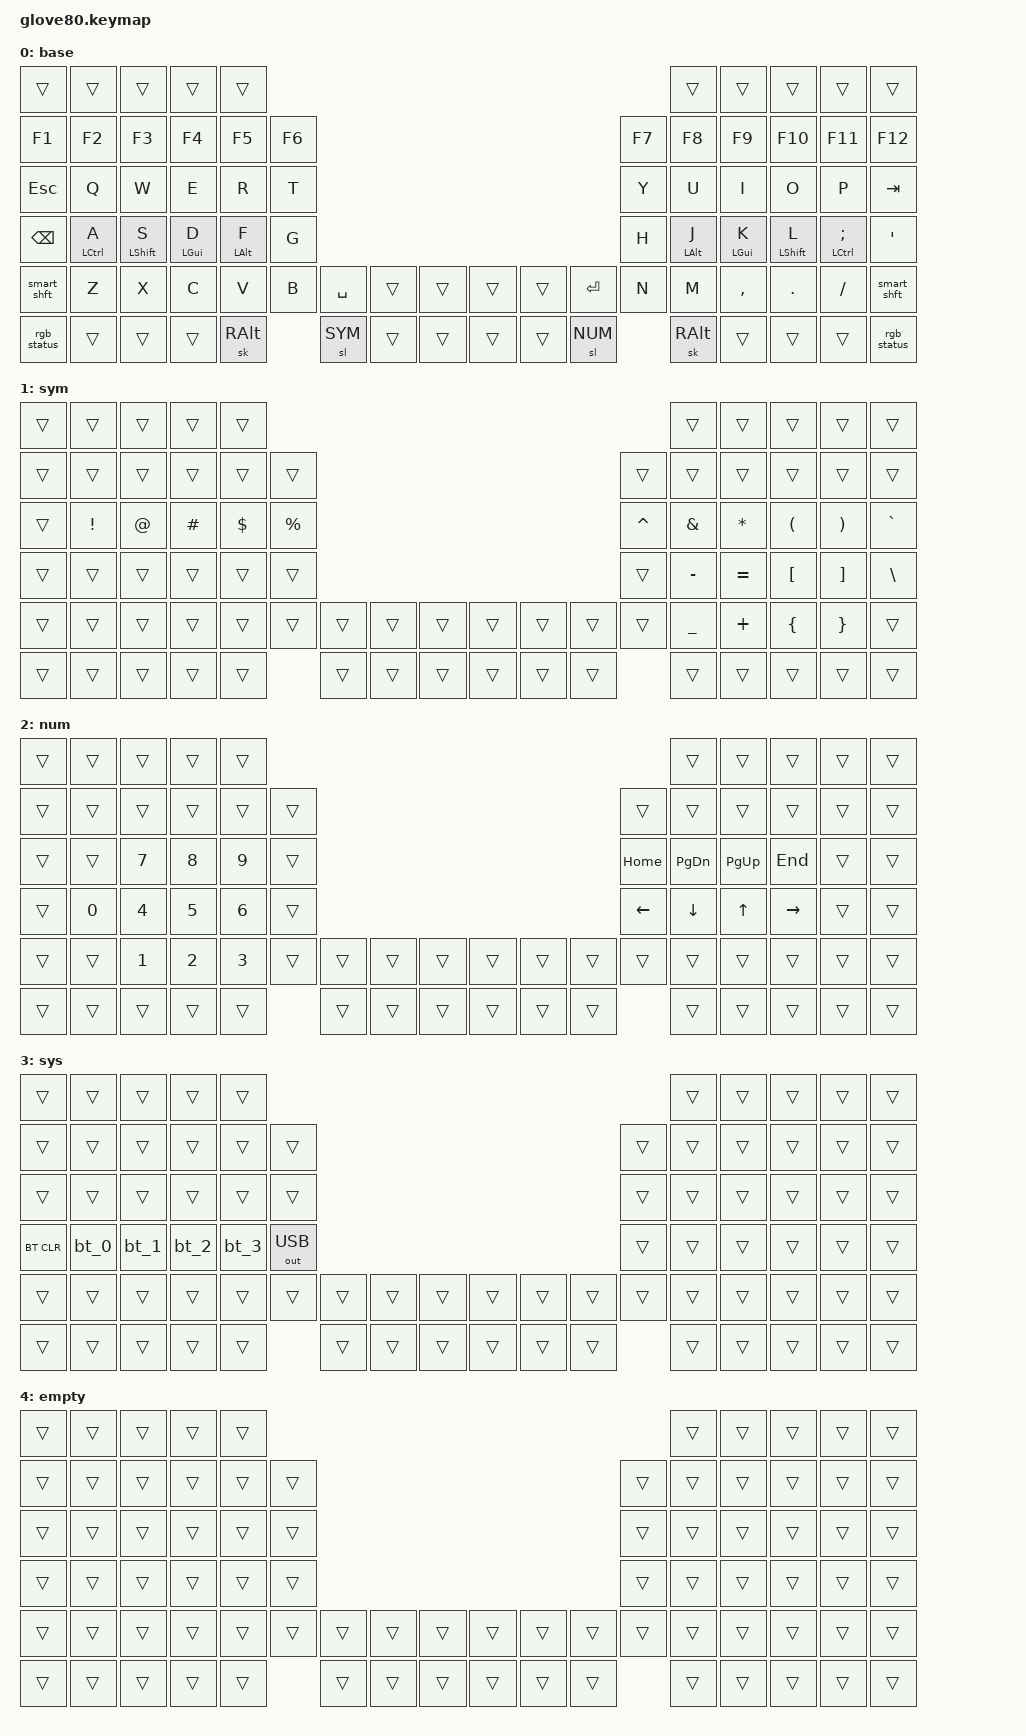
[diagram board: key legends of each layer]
/*                               GLOVE80 KEY MATRIX / LAYOUT MAPPING
 ╭────────────────────╮       ╭────────────────────╮ ╭────────────────────╮       ╭────────────────────╮
 │  0   1   2   3   4 ╰───┬───╯  5   6   7   8   9 │ │ LC5 LC4 LC3 LC2 LC1╰───┬───╯ RC1 RC2 RC3 RC4 RC5│
 │ 10  11  12  13  14  15 │ 16  17  18  19  20  21 │ │ LN5 LN4 LN3 LN2 LN1 LN0│ RN0 RN1 RN2 RN3 RN4 RN5│
 │ 22  23  24  25  26  27 │ 28  29  30  31  32  33 │ │ LT5 LT4 LT3 LT2 LT1 LT0│ RT0 RT1 RT2 RT3 RT4 RT5│
 │ 34  35  36  37  38  39 │ 40  41  42  43  44  45 │ │ LM5 LM4 LM3 LM2 LM1 LM0│ RM0 RM1 RM2 RM3 RM4 RM5│
 │ 46  47  48  49  50  51 │ 58  59  60  61  62  63 │ │ LB5 LB4 LB3 LB2 LB1 LB0│ RB0 RB1 RB2 RB3 RB4 RB5│
 │ 64  65  66  67  68 ╭───┴───╮ 75  76  77  78  79 │ │ LF5 LF4 LF3 LF2 LF1╭───┴───╮ RF1 RF2 RF3 RF4 RF5│
 ╰───────────┬────────┴───┬───┴────────┬───────────╯ ╰───────────┬────────┴───┬───┴────────┬───────────╯
             │ 52  53  54 │ 55  56  57 │                         │ LH5 LH4 LH3│ RH3 RH4 RH5│
             │ 69  70  71 │ 72  73  74 │                         │ LH2 LH1 LH0│ RH0 RH1 RH2│
             ╰────────────┴────────────╯                         ╰────────────┴────────────╯
 */
#include "../zmk-nodefree-config/keypos_def/keypos_glv80.h"

/* source ZMK helpers */
#include <behaviors.dtsi>
#include <dt-bindings/zmk/keys.h>

/* additional ZMK dependencies */
#include <dt-bindings/zmk/bt.h>
#include <dt-bindings/zmk/ext_power.h>
#include <dt-bindings/zmk/outputs.h>
#include <dt-bindings/zmk/rgb.h>

#include "../zmk-nodefree-config/helper.h"

// layers
#define DEF 0
#define SYM 1
#define NUM 2
#define SYS 3
#define EMPTY 4

#define XXX &none
#define ___ &trans

/* Global settings */

#define QUICK_TAP_MS 175

&sk {  // sticky-key config
    release-after-ms = <900>;  // release after 0.6s
    quick-release;             // no double capitalization when rolling keys
};

&sl {  // sticky-layer config
    ignore-modifiers;          // allow chording sticky mods & layers
};

&lt {  // layer-tap config
    flavor = "balanced";
    tapping-term-ms = <200>;
    quick-tap-ms = <QUICK_TAP_MS>;
};

#define KEYS_L LC1 LC2 LC3 LC4 LC5 LN0 LN1 LN2 LN3 LN4 LN5 LT0 LT1 LT2 LT3 LT4 LT5 LM0 LM1 LM2 LM3 LM4 LM5 LB0 LB1 LB2 LB3 LB4 LB5 LF1 LF2 LF3 LF4 LF5  // left hand
#define KEYS_R RC1 RC2 RC3 RC4 RC5 RN0 RN1 RN2 RN3 RN4 RN5 RT0 RT1 RT2 RT3 RT4 RT5 RM0 RM1 RM2 RM3 RM4 RM5 RB0 RB1 RB2 RB3 RB4 RB5 RF1 RF2 RF3 RF4 RF5  // right hand
#define THUMBS LH5 LH4 LH3 LH2 LH1 LH0 RH0 RH1 RH2 RH3 RH4 RH5                                                                                          // thumbs

#define MAKE_HRM(NAME, HOLD, TAP, TRIGGER_POS) \
    ZMK_BEHAVIOR(NAME, hold_tap, \
        flavor = "balanced"; \
        tapping-term-ms = <250>; \
        quick-tap-ms = <QUICK_TAP_MS>; \
        require-prior-idle-ms = <100>; \
        bindings = <HOLD>, <TAP>; \
        hold-trigger-key-positions = <TRIGGER_POS>; \
        hold-trigger-on-release; \
    )
MAKE_HRM(hml, &kp, &kp, KEYS_R THUMBS)  // left-hand HRMs
MAKE_HRM(hmr, &kp, &kp, KEYS_L THUMBS)  // right-hand HRMs

// tap: sticky-shift | shift + tap/ double-tap: caps-word | hold: shift
ZMK_BEHAVIOR(smart_shft, mod_morph,
    bindings = <&sk LSHFT>, <&caps_word>;
    mods = <(MOD_LSFT)>;
)
// Bluetooth macros
ZMK_BEHAVIOR(bt_0, macro,
    bindings = <&out OUT_BLE>
             , <&bt BT_SEL 0>;
)
ZMK_BEHAVIOR(bt_1, macro,
    bindings = <&out OUT_BLE>
             , <&bt BT_SEL 1>;
)
ZMK_BEHAVIOR(bt_2, macro,
    bindings = <&out OUT_BLE>
             , <&bt BT_SEL 2>;
)
ZMK_BEHAVIOR(bt_3, macro,
    bindings = <&out OUT_BLE>
             , <&bt BT_SEL 3>;
)
ZMK_BEHAVIOR(bt_4, macro,
    bindings = <&out OUT_BLE>
             , <&bt BT_SEL 4>;
)

// RGB status macro
ZMK_BEHAVIOR(rgb_status, macro,
    bindings = <&rgb_ug RGB_STATUS>;
)

/* Keymap */

ZMK_CONDITIONAL_LAYER(SYM NUM, SYS)  // SYM + NUM --> SYS

ZMK_LAYER(base,
// ╭─────────────┬─────────────┬─────────────┬─────────────┬─────────────╮                                                                                                                      ╭─────────────┬─────────────┬─────────────┬─────────────┬─────────────╮
    ___           ___           ___           ___           ___                                                                                                                                  ___           ___           ___           ___           ___
// ├─────────────┼─────────────┼─────────────┼─────────────┼─────────────┬─────────────╮                                                                                          ╭─────────────┬─────────────┼─────────────┼─────────────┼─────────────┼─────────────┤
    &kp F1        &kp F2        &kp F3        &kp F4        &kp F5        &kp F6                                                                                                   &kp F7        &kp F8        &kp F9        &kp F10       &kp F11       &kp F12
// ├─────────────┼─────────────┼─────────────┼─────────────┼─────────────┼─────────────┤                                                                                          ├─────────────┬─────────────┼─────────────┼─────────────┼─────────────┼─────────────┤
    &kp ESC       &kp Q         &kp W         &kp E         &kp R         &kp T                                                                                                    &kp Y         &kp U         &kp I         &kp O         &kp P         &kp TAB
// ├─────────────┼─────────────┼─────────────┼─────────────┼─────────────┼─────────────┤                                                                                          ├─────────────┬─────────────┼─────────────┼─────────────┼─────────────┼─────────────┤
    &kp BSPC      &hml LCTRL A  &hml LSHFT S  &hml LGUI D   &hml LALT F   &kp G                                                                                                    &kp H         &hmr LALT J   &hmr LGUI K   &hmr LSHFT L  &hmr LCTRL SEMI &kp SQT
// ├─────────────┼─────────────┼─────────────┼─────────────┼─────────────┼─────────────┤ ╭─────────────┬─────────────┬─────────────╮  ╭─────────────┬─────────────┬─────────────╮ ├─────────────┬─────────────┼─────────────┼─────────────┼─────────────┼─────────────┤
    &smart_shft   &kp Z         &kp X         &kp C         &kp V         &kp B           &kp SPACE     ___           ___              ___           ___           &kp ENTER       &kp N         &kp M         &kp COMMA     &kp DOT       &kp FSLH      &smart_shft
// ├─────────────┴─────────────┴─────────────┴─────────────┴─────────────┴─────────────╯ ├─────────────┼─────────────┼─────────────┤  ├─────────────┼─────────────┼─────────────┤ ╰─────────────┴─────────────┴─────────────┴─────────────┴─────────────┴─────────────┤
    &rgb_status   ___           ___           ___           &sk RALT                      &sl SYM       ___           ___              ___           ___           &sl NUM                       &sk RALT      ___           ___           ___           &rgb_status
// ╰─────────────┴─────────────┴─────────────┴─────────────┴─────────────╯               ╰─────────────┴─────────────┴─────────────╯  ╰─────────────┴─────────────┴─────────────╯               ╰─────────────┴─────────────┴─────────────┴─────────────┴─────────────╯
)

ZMK_LAYER(sym,
// ╭─────────────┬─────────────┬─────────────┬─────────────┬─────────────╮                                                                                                                      ╭─────────────┬─────────────┬─────────────┬─────────────┬─────────────╮
    ___           ___           ___           ___           ___                                                                                                                                  ___           ___           ___           ___           ___
// ├─────────────┼─────────────┼─────────────┼─────────────┼─────────────┬─────────────╮                                                                                          ╭─────────────┬─────────────┼─────────────┼─────────────┼─────────────┼─────────────┤
    ___           ___           ___           ___           ___           ___                                                                                                      ___           ___           ___           ___           ___           ___
// ├─────────────┼─────────────┼─────────────┼─────────────┼─────────────┼─────────────┤                                                                                          ├─────────────┬─────────────┼─────────────┼─────────────┼─────────────┼─────────────┤
    ___           &kp EXCL      &kp AT        &kp HASH      &kp DOLLAR    &kp PERCENT                                                                                              &kp CARET     &kp AMPS      &kp ASTRK     &kp LPAR      &kp RPAR      &kp GRAVE
// ├─────────────┼─────────────┼─────────────┼─────────────┼─────────────┼─────────────┤                                                                                          ├─────────────┬─────────────┼─────────────┼─────────────┼─────────────┼─────────────┤
    ___           ___           ___           ___           ___           ___                                                                                                      ___           &kp MINUS     &kp EQUAL     &kp LBKT      &kp RBKT      &kp BSLH
// ├─────────────┼─────────────┼─────────────┼─────────────┼─────────────┼─────────────┤ ╭─────────────┬─────────────┬─────────────╮  ╭─────────────┬─────────────┬─────────────╮ ├─────────────┬─────────────┼─────────────┼─────────────┼─────────────┼─────────────┤
    ___           ___           ___           ___           ___           ___             ___           ___           ___              ___           ___           ___             ___           &kp UNDER     &kp PLUS      &kp LBRC      &kp RBRC      ___
// ├─────────────┴─────────────┴─────────────┴─────────────┴─────────────┴─────────────╯ ├─────────────┼─────────────┼─────────────┤  ├─────────────┼─────────────┼─────────────┤ ╰─────────────┴─────────────┴─────────────┴─────────────┴─────────────┴─────────────┤
    ___           ___           ___           ___           ___                           ___           ___           ___              ___           ___           ___                           ___           ___           ___           ___           ___
// ╰─────────────┴─────────────┴─────────────┴─────────────┴─────────────╯               ╰─────────────┴─────────────┴─────────────╯  ╰─────────────┴─────────────┴─────────────╯               ╰─────────────┴─────────────┴─────────────┴─────────────┴─────────────╯
)

ZMK_LAYER(num,
// ╭─────────────┬─────────────┬─────────────┬─────────────┬─────────────╮                                                                                                                      ╭─────────────┬─────────────┬─────────────┬─────────────┬─────────────╮
    ___           ___           ___           ___           ___                                                                                                                                  ___           ___           ___           ___           ___
// ├─────────────┼─────────────┼─────────────┼─────────────┼─────────────┬─────────────╮                                                                                          ╭─────────────┬─────────────┼─────────────┼─────────────┼─────────────┼─────────────┤
    ___           ___           ___           ___           ___           ___                                                                                                      ___           ___           ___           ___           ___           ___
// ├─────────────┼─────────────┼─────────────┼─────────────┼─────────────┼─────────────┤                                                                                          ├─────────────┬─────────────┼─────────────┼─────────────┼─────────────┼─────────────┤
    ___           ___           &kp N7        &kp N8        &kp N9        ___                                                                                                      &kp HOME      &kp PG_DN     &kp PG_UP     &kp END       ___           ___
// ├─────────────┼─────────────┼─────────────┼─────────────┼─────────────┼─────────────┤                                                                                          ├─────────────┬─────────────┼─────────────┼─────────────┼─────────────┼─────────────┤
    ___           &kp N0        &kp N4        &kp N5        &kp N6        ___                                                                                                      &kp LEFT      &kp DOWN      &kp UP        &kp RIGHT     ___           ___
// ├─────────────┼─────────────┼─────────────┼─────────────┼─────────────┼─────────────┤ ╭─────────────┬─────────────┬─────────────╮  ╭─────────────┬─────────────┬─────────────╮ ├─────────────┬─────────────┼─────────────┼─────────────┼─────────────┼─────────────┤
    ___           ___           &kp N1        &kp N2        &kp N3        ___             ___           ___           ___              ___           ___           ___             ___           ___           ___           ___           ___           ___
// ├─────────────┴─────────────┴─────────────┴─────────────┴─────────────┴─────────────╯ ├─────────────┼─────────────┼─────────────┤  ├─────────────┼─────────────┼─────────────┤ ╰─────────────┴─────────────┴─────────────┴─────────────┴─────────────┴─────────────┤
    ___           ___           ___           ___           ___                           ___           ___           ___              ___           ___           ___                           ___           ___           ___           ___           ___
// ╰─────────────┴─────────────┴─────────────┴─────────────┴─────────────╯               ╰─────────────┴─────────────┴─────────────╯  ╰─────────────┴─────────────┴─────────────╯               ╰─────────────┴─────────────┴─────────────┴─────────────┴─────────────╯
)

ZMK_LAYER(sys,
// ╭─────────────┬─────────────┬─────────────┬─────────────┬─────────────╮                                                                                                                      ╭─────────────┬─────────────┬─────────────┬─────────────┬─────────────╮
    ___           ___           ___           ___           ___                                                                                                                                  ___           ___           ___           ___           ___
// ├─────────────┼─────────────┼─────────────┼─────────────┼─────────────┬─────────────╮                                                                                          ╭─────────────┬─────────────┼─────────────┼─────────────┼─────────────┼─────────────┤
    ___           ___           ___           ___           ___           ___                                                                                                      ___           ___           ___           ___           ___           ___
// ├─────────────┼─────────────┼─────────────┼─────────────┼─────────────┼─────────────┤                                                                                          ├─────────────┬─────────────┼─────────────┼─────────────┼─────────────┼─────────────┤
    ___           ___           ___           ___           ___           ___                                                                                                      ___           ___           ___           ___           ___           ___
// ├─────────────┼─────────────┼─────────────┼─────────────┼─────────────┼─────────────┤                                                                                          ├─────────────┬─────────────┼─────────────┼─────────────┼─────────────┼─────────────┤
    &bt BT_CLR    &bt_0         &bt_1         &bt_2         &bt_3         &out OUT_USB                                                                                             ___           ___           ___           ___           ___           ___
// ├─────────────┼─────────────┼─────────────┼─────────────┼─────────────┼─────────────┤ ╭─────────────┬─────────────┬─────────────╮  ╭─────────────┬─────────────┬─────────────╮ ├─────────────┬─────────────┼─────────────┼─────────────┼─────────────┼─────────────┤
    ___           ___           ___           ___           ___           ___             ___           ___           ___              ___           ___           ___             ___           ___           ___           ___           ___           ___
// ├─────────────┴─────────────┴─────────────┴─────────────┴─────────────┴─────────────╯ ├─────────────┼─────────────┼─────────────┤  ├─────────────┼─────────────┼─────────────┤ ╰─────────────┴─────────────┴─────────────┴─────────────┴─────────────┴─────────────┤
    ___           ___           ___           ___           ___                           ___           ___           ___              ___           ___           ___                           ___           ___           ___           ___           ___
// ╰─────────────┴─────────────┴─────────────┴─────────────┴─────────────╯               ╰─────────────┴─────────────┴─────────────╯  ╰─────────────┴─────────────┴─────────────╯               ╰─────────────┴─────────────┴─────────────┴─────────────┴─────────────╯
)

ZMK_LAYER(empty,
// ╭─────────────┬─────────────┬─────────────┬─────────────┬─────────────╮                                                                                                                      ╭─────────────┬─────────────┬─────────────┬─────────────┬─────────────╮
    ___           ___           ___           ___           ___                                                                                                                                  ___           ___           ___           ___           ___
// ├─────────────┼─────────────┼─────────────┼─────────────┼─────────────┬─────────────╮                                                                                          ╭─────────────┬─────────────┼─────────────┼─────────────┼─────────────┼─────────────┤
    ___           ___           ___           ___           ___           ___                                                                                                      ___           ___           ___           ___           ___           ___
// ├─────────────┼─────────────┼─────────────┼─────────────┼─────────────┼─────────────┤                                                                                          ├─────────────┬─────────────┼─────────────┼─────────────┼─────────────┼─────────────┤
    ___           ___           ___           ___           ___           ___                                                                                                      ___           ___           ___           ___           ___           ___
// ├─────────────┼─────────────┼─────────────┼─────────────┼─────────────┼─────────────┤                                                                                          ├─────────────┬─────────────┼─────────────┼─────────────┼─────────────┼─────────────┤
    ___           ___           ___           ___           ___           ___                                                                                                      ___           ___           ___           ___           ___           ___
// ├─────────────┼─────────────┼─────────────┼─────────────┼─────────────┼─────────────┤ ╭─────────────┬─────────────┬─────────────╮  ╭─────────────┬─────────────┬─────────────╮ ├─────────────┬─────────────┼─────────────┼─────────────┼─────────────┼─────────────┤
    ___           ___           ___           ___           ___           ___             ___           ___           ___              ___           ___           ___             ___           ___           ___           ___           ___           ___
// ├─────────────┴─────────────┴─────────────┴─────────────┴─────────────┴─────────────╯ ├─────────────┼─────────────┼─────────────┤  ├─────────────┼─────────────┼─────────────┤ ╰─────────────┴─────────────┴─────────────┴─────────────┴─────────────┴─────────────┤
    ___           ___           ___           ___           ___                           ___           ___           ___              ___           ___           ___                           ___           ___           ___           ___           ___
// ╰─────────────┴─────────────┴─────────────┴─────────────┴─────────────╯               ╰─────────────┴─────────────┴─────────────╯  ╰─────────────┴─────────────┴─────────────╯               ╰─────────────┴─────────────┴─────────────┴─────────────┴─────────────╯
)

/* vim: set ft=c tw=174: */
